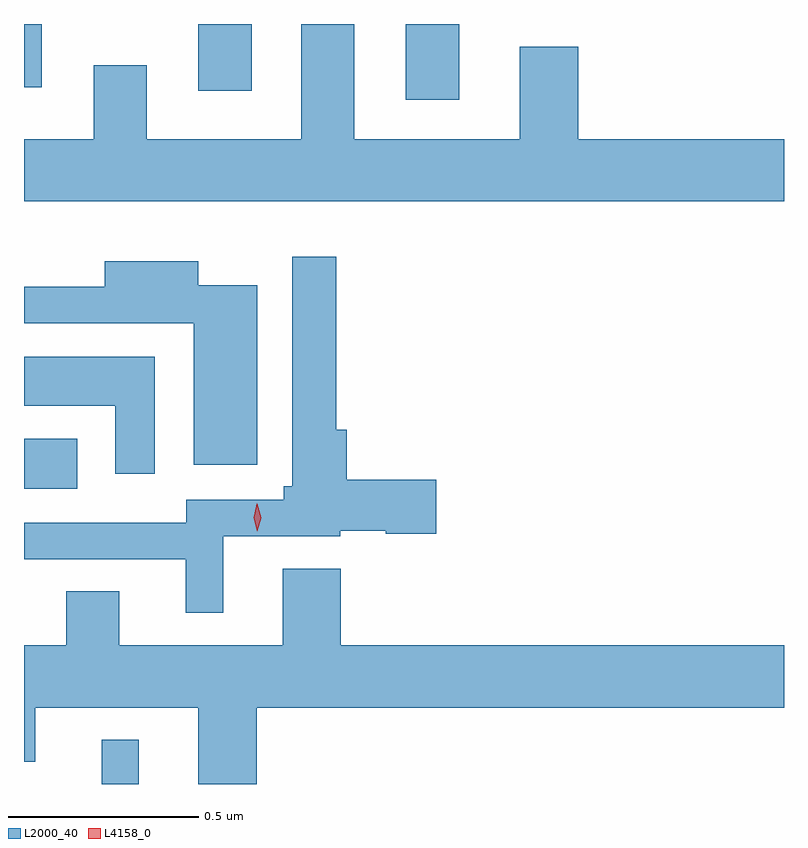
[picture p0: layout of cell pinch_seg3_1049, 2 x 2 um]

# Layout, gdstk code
import gdstk
lib = gdstk.Library(unit=1e-6, precision=1e-09)
def R(c, l, rs):  # rectangles x0, y0, x1, y1
    for r in rs: c.add(gdstk.rectangle(r[:2], r[2:], *l))
def P(c, l, *ps):  # polygons
    for p in ps: c.add(gdstk.Polygon(p, *l))
L2000_40 = (2000, 40)
L4158_0 = (4158, 0)

pinch_seg3_1049 = lib.new_cell('pinch_seg3_1049')
R(pinch_seg3_1049, L2000_40, [(574.442,704.711,574.54,704.827), (574.238,705.488,574.378,705.619), (575.243,706.512,575.383,706.711), (574.697,706.536,574.837,706.711), (574.238,706.544,574.285,706.711)])
P(pinch_seg3_1049, L2000_40, [(576.238,706.408),(575.696,706.408),(575.696,706.651),(575.543,706.651),(575.543,706.408),(575.107,706.408),(575.107,706.711),(574.967,706.711),(574.967,706.408),(574.561,706.408),(574.561,706.603),(574.421,706.603),(574.421,706.408),(574.238,706.408),(574.238,706.244),(576.238,706.244)],
  [(574.762,705.363),(575.07,705.363),(575.07,705.377),(575.19,705.377),(575.19,705.37),(575.323,705.37),(575.323,705.512),(575.087,705.512),(575.087,705.643),(575.06,705.643),(575.06,706.099),(574.944,706.099),(574.944,705.495),(574.922,705.495),(574.922,705.459),(574.665,705.459),(574.665,705.399),(574.238,705.399),(574.238,705.303),(574.664,705.303),(574.664,705.162),(574.762,705.162)],
  [(574.852,706.023),(574.696,706.023),(574.696,706.087),(574.451,706.087),(574.451,706.02),(574.238,706.02),(574.238,705.924),(574.685,705.924),(574.685,705.551),(574.852,705.551)],
  [(574.582,705.835),(574.238,705.835),(574.238,705.707),(574.478,705.707),(574.478,705.528),(574.582,705.528)],
  [(574.85,704.912),(576.238,704.912),(576.238,705.076),(575.072,705.076),(575.072,705.278),(574.919,705.278),(574.919,705.076),(574.489,705.076),(574.489,705.218),(574.349,705.218),(574.349,705.076),(574.238,705.076),(574.238,704.77),(574.267,704.77),(574.267,704.912),(574.697,704.912),(574.697,704.711),(574.85,704.711)])
P(pinch_seg3_1049, L4158_0, [(574.852,705.376),(574.852,705.376),(574.842,705.412),(574.851,705.448),(574.851,705.448),(574.852,705.448),(574.862,705.412),(574.852,705.376)])

lib.write_gds('pinch_seg3_1049.gds')
